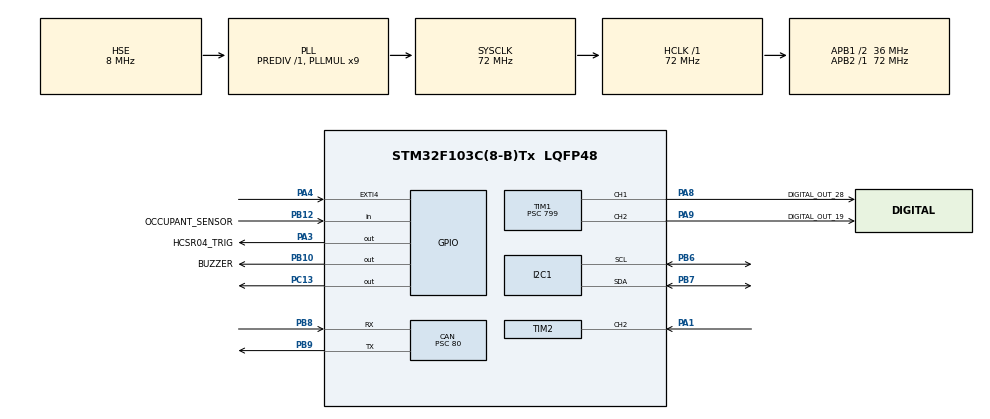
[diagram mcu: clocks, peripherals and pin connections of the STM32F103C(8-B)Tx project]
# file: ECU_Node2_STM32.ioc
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CAN.ABOM=DISABLE
CAN.BS1=CAN_BS1_5TQ
CAN.BS2=CAN_BS2_3TQ
CAN.CalculateBaudRate=50000
CAN.CalculateTimeBit=20000
CAN.CalculateTimeQuantum=2222.222222222222
CAN.Mode=CAN_MODE_NORMAL
CAN.NART=ENABLE
CAN.Prescaler=80
FREERTOS.Tasks01=CANRxHandlerTask,24,128,CANRxHandler,Default,NULL,Dynamic,NULL,NULL;CANTxHandlerTask,24,128,CANTxHandler,Default,NULL,Dynamic,NULL,NULL
FREERTOS.configMAX_TASK_NAME_LEN=32
FREERTOS.configTOTAL_HEAP_SIZE=10000
FREERTOS.configUSE_MALLOC_FAILED_HOOK=1
Mcu.Family=STM32F1
Mcu.Name=STM32F103C(8-B)Tx
Mcu.Package=LQFP48
NVIC.EXTI4_IRQn=true\:5\:0\:false\:false\:true\:true\:true\:true\:true
NVIC.PriorityGroup=NVIC_PRIORITYGROUP_4
NVIC.TIM2_IRQn=true\:5\:0\:false\:false\:true\:true\:true\:true\:true
NVIC.TIM4_IRQn=true\:15\:0\:false\:false\:true\:false\:false\:true\:true
NVIC.TimeBase=TIM4_IRQn
NVIC.TimeBaseIP=TIM4
NVIC.USB_LP_CAN1_RX0_IRQn=true\:5\:0\:false\:false\:true\:true\:true\:true\:true
PA1.Signal=S_TIM2_CH2
PA13.Mode=Serial_Wire
PA13.Signal=SYS_JTMS-SWDIO
PA14.Mode=Serial_Wire
PA14.Signal=SYS_JTCK-SWCLK
PA3.GPIO_Label=HCSR04_TRIG
PA3.Signal=GPIO_Output
PA4.GPIO_PuPd=GPIO_NOPULL
PA4.Signal=GPXTI4
PA8.GPIO_Label=DIGITAL_OUT_28
PA8.Signal=S_TIM1_CH1
PA9.GPIO_Label=DIGITAL_OUT_19
PA9.Signal=S_TIM1_CH2
PB10.GPIO_Label=BUZZER
PB10.Signal=GPIO_Output
PB12.GPIO_Label=OCCUPANT_SENSOR
PB12.GPIO_PuPd=GPIO_PULLUP
PB12.Signal=GPIO_Input
PB6.Mode=I2C
PB6.Signal=I2C1_SCL
PB7.Mode=I2C
PB7.Signal=I2C1_SDA
PB8.GPIO_PuPd=GPIO_PULLUP
PB8.Mode=CAN_Activate
PB8.Signal=CAN_RX
PB9.Mode=CAN_Activate
PB9.Signal=CAN_TX
PC13-TAMPER-RTC.Signal=GPIO_Output
PD0-OSC_IN.Mode=HSE-External-Oscillator
PD0-OSC_IN.Signal=RCC_OSC_IN
PD1-OSC_OUT.Mode=HSE-External-Oscillator
PD1-OSC_OUT.Signal=RCC_OSC_OUT
ProjectManager.HeapSize=0x200
ProjectManager.StackSize=0x400
ProjectManager.TargetToolchain=STM32CubeIDE
RCC.ADCPresc=RCC_ADCPCLK2_DIV6
RCC.AHBFreq_Value=72000000
RCC.APB1CLKDivider=RCC_HCLK_DIV2
RCC.APB1Freq_Value=36000000
RCC.APB1TimFreq_Value=72000000
RCC.APB2Freq_Value=72000000
RCC.APB2TimFreq_Value=72000000
RCC.HCLKFreq_Value=72000000
RCC.PLLMUL=RCC_PLL_MUL9
RCC.PLLSourceVirtual=RCC_PLLSOURCE_HSE
RCC.SYSCLKFreq_VALUE=72000000
RCC.SYSCLKSource=RCC_SYSCLKSOURCE_PLLCLK
RCC.USBFreq_Value=72000000
SH.S_TIM1_CH1.0=TIM1_CH1,PWM Generation1 CH1
SH.S_TIM1_CH2.0=TIM1_CH2,PWM Generation2 CH2
SH.S_TIM2_CH2.0=TIM2_CH2,Input_Capture2_from_TI2
TIM1.Channel-PWM\ Generation1\ CH1=TIM_CHANNEL_1
TIM1.Channel-PWM\ Generation2\ CH2=TIM_CHANNEL_2
TIM1.Period=999
TIM1.Prescaler=799
TIM2.Channel-Input_Capture2_from_TI2=TIM_CHANNEL_2
TIM2.Prescaler=71
TIM3.Period=999
TIM3.Prescaler=799
VP_FREERTOS_VS_CMSIS_V2.Mode=CMSIS_V2
VP_SYS_VS_tim4.Mode=TIM4
VP_TIM1_VS_ClockSourceINT.Mode=Internal
VP_TIM2_VS_ClockSourceINT.Mode=Internal
VP_TIM3_VS_ClockSourceINT.Mode=Internal
board=custom

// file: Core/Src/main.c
/* USER CODE BEGIN Header */
/**
  ******************************************************************************
  * @file           : main.c
  * @brief          : Main program body
  ******************************************************************************
  * @attention
  *
  * <h2><center>&copy; Copyright (c) 2025 STMicroelectronics.
  * All rights reserved.</center></h2>
  *
  * This software component is licensed by ST under BSD 3-Clause license,
  * the "License"; You may not use this file except in compliance with the
  * License. You may obtain a copy of the License at:
  *                        opensource.org/licenses/BSD-3-Clause
  *
  ******************************************************************************
  */
/* USER CODE END Header */
#include "main.h"
#include "cmsis_os.h"

/* USER CODE BEGIN Includes */
#include "can.h"
#include "hcsr04.h"
#include "buzzer.h"
#include "ds1307.h"
#include <stdbool.h>
#include <string.h>
/* USER CODE END Includes */

CAN_HandleTypeDef hcan;

I2C_HandleTypeDef hi2c1;

TIM_HandleTypeDef htim1;
TIM_HandleTypeDef htim2;
TIM_HandleTypeDef htim3;

/* Definitions for CANRxHandlerTask */
osThreadId_t CANRxHandlerTaskHandle;
const osThreadAttr_t CANRxHandlerTask_attributes = {
  .name = "CANRxHandlerTask",
  .stack_size = 128 * 4,
  .priority = (osPriority_t) osPriorityNormal,
};
/* Definitions for CANTxHandlerTask */
osThreadId_t CANTxHandlerTaskHandle;
const osThreadAttr_t CANTxHandlerTask_attributes = {
  .name = "CANTxHandlerTask",
  .stack_size = 128 * 4,
  .priority = (osPriority_t) osPriorityNormal,
};
/* USER CODE BEGIN PV */

CAN_Frame canTxQueue[CAN_TX_QUEUE_SIZE];

volatile DigitalOutput_Resp_Frame digital_output_data[NUMBER_OF_DIG_OUT_RES_FRAME] = {0};
volatile DigitalInput_Resp_Frame digital_input_data[NUMBER_OF_DIG_IN_RES_FRAME] = {0};
volatile DigitalOutput_Cmd_Frame digital_output_cmd_data[NUMBER_OF_DIG_OUT_CMD_FRAME] = {0};
volatile AnalogInput_Resp_Frame analog_input_data[NUMBER_OF_ANALOG_IN_RES_FRAME] = {0};

CAN_RxFrame can_rx_frame;

#define ADXL345_ADDR    (0x53 << 1)
volatile bool g_crash_interrupt_fired = false;

/* USER CODE END PV */

void SystemClock_Config(void);
static void MX_GPIO_Init(void);
static void MX_CAN_Init(void);
static void MX_TIM1_Init(void);
static void MX_TIM3_Init(void);
static void MX_TIM2_Init(void);
static void MX_I2C1_Init(void);
void CANRxHandler(void *argument);
void CANTxHandler(void *argument);

/* USER CODE BEGIN PFP */
/**
  * @brief  Process Digital Output Commands
  * @param  cmd_data: Pointer to the Digital Output Command Frame
  *                                   containing the commands to process
  * @retval None
  */
void digital_output_process(volatile DigitalOutput_Cmd_Frame *cmd_data);

/* USER CODE END PFP */

/* USER CODE BEGIN 0 */
void HAL_CAN_RxFifo0MsgPendingCallback(CAN_HandleTypeDef *hcan) {
  HAL_CAN_GetRxMessage(hcan, CAN_RX_FIFO0, &can_rx_frame.header, can_rx_frame.data);
  // Process received CAN message
}
void HAL_TIM_IC_CaptureCallback(TIM_HandleTypeDef *htim)
{
    HCSR04_IC_CaptureCallback(htim);
}

void ADXL345_Init(void) {
    uint8_t data[2];

    // 1. Full Resolution, Range ±16g
    data[0] = 0x31; data[1] = 0x0B;
    HAL_I2C_Master_Transmit(&hi2c1, ADXL345_ADDR, data, 2, 100);

    // 2. Ngưỡng va chạm (Thresh Tap): Ví dụ chọn giá trị 48 (~3g)
    data[0] = 0x1D; data[1] = 0x30;
    HAL_I2C_Master_Transmit(&hi2c1, ADXL345_ADDR, data, 2, 100);

    // 3. Thời gian va chạm tối đa (Duration)
    data[0] = 0x21; data[1] = 0x18;
    HAL_I2C_Master_Transmit(&hi2c1, ADXL345_ADDR, data, 2, 100);

    // 4. Kích hoạt trục X, Y để bắt va chạm
    data[0] = 0x2A; data[1] = 0x06;
    HAL_I2C_Master_Transmit(&hi2c1, ADXL345_ADDR, data, 2, 100);

    // 5. Map ngắt Single Tap ra INT1
    data[0] = 0x2F; data[1] = 0x00;
    HAL_I2C_Master_Transmit(&hi2c1, ADXL345_ADDR, data, 2, 100);

    // 6. Bật ngắt Single Tap
    data[0] = 0x2E; data[1] = 0x40;
    HAL_I2C_Master_Transmit(&hi2c1, ADXL345_ADDR, data, 2, 100);

    // 7. Chuyển sang chế độ đo (Measurement Mode)
    data[0] = 0x2D; data[1] = 0x08;
    HAL_I2C_Master_Transmit(&hi2c1, ADXL345_ADDR, data, 2, 100);
}

/* --- THÊM HÀM NGẮT (EXTI CALLBACK) TẠI ĐÂY --- */
void HAL_GPIO_EXTI_Callback(uint16_t GPIO_Pin) {
    if (GPIO_Pin == GPIO_PIN_4) {
        // Chỉ bật cờ báo hiệu, tuyệt đối không gọi HAL_I2C ở đây
        g_crash_interrupt_fired = true;
    }
}
/* USER CODE END 0 */

int main(void)
{

  /* MCU Configuration--------------------------------------------------------*/

  /* Reset of all peripherals, Initializes the Flash interface and the Systick. */
  HAL_Init();

  /* Configure the system clock */
  SystemClock_Config();

  /* Initialize all configured peripherals */
  MX_GPIO_Init();
  MX_CAN_Init();
  MX_TIM1_Init();
  MX_TIM3_Init();
  MX_TIM2_Init();
  MX_I2C1_Init();
  /* USER CODE BEGIN 2 */
  HAL_TIM_PWM_Start(&htim1, TIM_CHANNEL_1);
  HAL_TIM_PWM_Start(&htim1, TIM_CHANNEL_2);
  HAL_TIM_PWM_Start(&htim1, TIM_CHANNEL_3);
  HAL_TIM_PWM_Start(&htim3, TIM_CHANNEL_1);
  HAL_TIM_PWM_Start(&htim3, TIM_CHANNEL_2);
  HAL_TIM_PWM_Start(&htim3, TIM_CHANNEL_3);
  HAL_TIM_PWM_Start(&htim3, TIM_CHANNEL_4);

  HAL_CAN_Start(&hcan);
  HAL_CAN_ActivateNotification(&hcan, CAN_IT_RX_FIFO0_MSG_PENDING);
  Buzzer_Init();
  DS1307_Init();
  ADXL345_Init();
#if 0
  {
      DS1307_Time t0 = {
          .seconds = 0,
          .minutes = 05,
          .hours   = 16,
          .dow     = 1,     /* 1=CN ... 7=T7 (tùy bạn quy ước) */
          .date    = 31,
          .month   = 5,
          .year    = 26     /* 2026 → 26 */
      };
      DS1307_SetTime(&t0);
  }
#endif

  /* USER CODE END 2 */

  /* Init scheduler */
  osKernelInitialize();

  /* Create the thread(s) */
  /* creation of CANRxHandlerTask */
  CANRxHandlerTaskHandle = osThreadNew(CANRxHandler, NULL, &CANRxHandlerTask_attributes);

  /* creation of CANTxHandlerTask */
  CANTxHandlerTaskHandle = osThreadNew(CANTxHandler, NULL, &CANTxHandlerTask_attributes);

  /* Start scheduler */
  osKernelStart();

  /* We should never get here as control is now taken by the scheduler */

  /* Infinite loop */
  while (1)
  {

  }
}

void SystemClock_Config(void)
{
  RCC_OscInitTypeDef RCC_OscInitStruct = {0};
  RCC_ClkInitTypeDef RCC_ClkInitStruct = {0};

  /** Initializes the RCC Oscillators according to the specified parameters
  * in the RCC_OscInitTypeDef structure.
  */
  RCC_OscInitStruct.OscillatorType = RCC_OSCILLATORTYPE_HSE;
  RCC_OscInitStruct.HSEState = RCC_HSE_ON;
  RCC_OscInitStruct.HSEPredivValue = RCC_HSE_PREDIV_DIV1;
  RCC_OscInitStruct.HSIState = RCC_HSI_ON;
  RCC_OscInitStruct.PLL.PLLState = RCC_PLL_ON;
  RCC_OscInitStruct.PLL.PLLSource = RCC_PLLSOURCE_HSE;
  RCC_OscInitStruct.PLL.PLLMUL = RCC_PLL_MUL9;
  if (HAL_RCC_OscConfig(&RCC_OscInitStruct) != HAL_OK)
  {
    Error_Handler();
  }

  /** Initializes the CPU, AHB and APB buses clocks
  */
  RCC_ClkInitStruct.ClockType = RCC_CLOCKTYPE_HCLK|RCC_CLOCKTYPE_SYSCLK
                              |RCC_CLOCKTYPE_PCLK1|RCC_CLOCKTYPE_PCLK2;
  RCC_ClkInitStruct.SYSCLKSource = RCC_SYSCLKSOURCE_PLLCLK;
  RCC_ClkInitStruct.AHBCLKDivider = RCC_SYSCLK_DIV1;
  RCC_ClkInitStruct.APB1CLKDivider = RCC_HCLK_DIV2;
  RCC_ClkInitStruct.APB2CLKDivider = RCC_HCLK_DIV1;

  if (HAL_RCC_ClockConfig(&RCC_ClkInitStruct, FLASH_LATENCY_2) != HAL_OK)
  {
    Error_Handler();
  }
}

static void MX_CAN_Init(void)
{

  hcan.Instance = CAN1;
  hcan.Init.Prescaler = 80;
  hcan.Init.Mode = CAN_MODE_NORMAL;
  hcan.Init.SyncJumpWidth = CAN_SJW_1TQ;
  hcan.Init.TimeSeg1 = CAN_BS1_5TQ;
  hcan.Init.TimeSeg2 = CAN_BS2_3TQ;
  hcan.Init.TimeTriggeredMode = DISABLE;
  hcan.Init.AutoBusOff = DISABLE;
  hcan.Init.AutoWakeUp = DISABLE;
  hcan.Init.AutoRetransmission = ENABLE;
  hcan.Init.ReceiveFifoLocked = DISABLE;
  hcan.Init.TransmitFifoPriority = DISABLE;
  if (HAL_CAN_Init(&hcan) != HAL_OK)
  {
    Error_Handler();
  }
  /* USER CODE BEGIN CAN_Init 2 */
  CAN_FilterTypeDef canfilterconfig;

  canfilterconfig.FilterActivation = CAN_FILTER_ENABLE;
  canfilterconfig.FilterBank = 10;  // anything between 0 to SlaveStartFilterBank
  canfilterconfig.FilterFIFOAssignment = CAN_FILTER_FIFO0;
  canfilterconfig.FilterIdHigh = 0;
  canfilterconfig.FilterIdLow = 0x0000;
  canfilterconfig.FilterMaskIdHigh = 0;
  canfilterconfig.FilterMaskIdLow = 0x0000;
  canfilterconfig.FilterMode = CAN_FILTERMODE_IDMASK;
  canfilterconfig.FilterScale = CAN_FILTERSCALE_32BIT;
  canfilterconfig.SlaveStartFilterBank = 13;  // 13 to 27 are assigned to slave CAN (CAN 2) OR 0 to 12 are assgned to CAN1

  HAL_CAN_ConfigFilter(&hcan, &canfilterconfig);
  /* USER CODE END CAN_Init 2 */

}

static void MX_I2C1_Init(void)
{

  hi2c1.Instance = I2C1;
  hi2c1.Init.ClockSpeed = 100000;
  hi2c1.Init.DutyCycle = I2C_DUTYCYCLE_2;
  hi2c1.Init.OwnAddress1 = 0;
  hi2c1.Init.AddressingMode = I2C_ADDRESSINGMODE_7BIT;
  hi2c1.Init.DualAddressMode = I2C_DUALADDRESS_DISABLE;
  hi2c1.Init.OwnAddress2 = 0;
  hi2c1.Init.GeneralCallMode = I2C_GENERALCALL_DISABLE;
  hi2c1.Init.NoStretchMode = I2C_NOSTRETCH_DISABLE;
  if (HAL_I2C_Init(&hi2c1) != HAL_OK)
  {
    Error_Handler();
  }

}

static void MX_TIM1_Init(void)
{

  TIM_ClockConfigTypeDef sClockSourceConfig = {0};
  TIM_MasterConfigTypeDef sMasterConfig = {0};
  TIM_OC_InitTypeDef sConfigOC = {0};
  TIM_BreakDeadTimeConfigTypeDef sBreakDeadTimeConfig = {0};

  htim1.Instance = TIM1;
  htim1.Init.Prescaler = 799;
  htim1.Init.CounterMode = TIM_COUNTERMODE_UP;
  htim1.Init.Period = 999;
  htim1.Init.ClockDivision = TIM_CLOCKDIVISION_DIV1;
  htim1.Init.RepetitionCounter = 0;
  htim1.Init.AutoReloadPreload = TIM_AUTORELOAD_PRELOAD_DISABLE;
  if (HAL_TIM_Base_Init(&htim1) != HAL_OK)
  {
    Error_Handler();
  }
  sClockSourceConfig.ClockSource = TIM_CLOCKSOURCE_INTERNAL;
  if (HAL_TIM_ConfigClockSource(&htim1, &sClockSourceConfig) != HAL_OK)
  {
    Error_Handler();
  }
  if (HAL_TIM_PWM_Init(&htim1) != HAL_OK)
  {
    Error_Handler();
  }
  sMasterConfig.MasterOutputTrigger = TIM_TRGO_RESET;
  sMasterConfig.MasterSlaveMode = TIM_MASTERSLAVEMODE_DISABLE;
  if (HAL_TIMEx_MasterConfigSynchronization(&htim1, &sMasterConfig) != HAL_OK)
  {
    Error_Handler();
  }
  sConfigOC.OCMode = TIM_OCMODE_PWM1;
  sConfigOC.Pulse = 0;
  sConfigOC.OCPolarity = TIM_OCPOLARITY_HIGH;
  sConfigOC.OCNPolarity = TIM_OCNPOLARITY_HIGH;
  sConfigOC.OCFastMode = TIM_OCFAST_DISABLE;
  sConfigOC.OCIdleState = TIM_OCIDLESTATE_RESET;
  sConfigOC.OCNIdleState = TIM_OCNIDLESTATE_RESET;
  if (HAL_TIM_PWM_ConfigChannel(&htim1, &sConfigOC, TIM_CHANNEL_1) != HAL_OK)
  {
    Error_Handler();
  }
  if (HAL_TIM_PWM_ConfigChannel(&htim1, &sConfigOC, TIM_CHANNEL_2) != HAL_OK)
  {
    Error_Handler();
  }
  sBreakDeadTimeConfig.OffStateRunMode = TIM_OSSR_DISABLE;
  sBreakDeadTimeConfig.OffStateIDLEMode = TIM_OSSI_DISABLE;
  sBreakDeadTimeConfig.LockLevel = TIM_LOCKLEVEL_OFF;
  sBreakDeadTimeConfig.DeadTime = 0;
  sBreakDeadTimeConfig.BreakState = TIM_BREAK_DISABLE;
  sBreakDeadTimeConfig.BreakPolarity = TIM_BREAKPOLARITY_HIGH;
  sBreakDeadTimeConfig.AutomaticOutput = TIM_AUTOMATICOUTPUT_DISABLE;
  if (HAL_TIMEx_ConfigBreakDeadTime(&htim1, &sBreakDeadTimeConfig) != HAL_OK)
  {
    Error_Handler();
  }
  HAL_TIM_MspPostInit(&htim1);

}

static void MX_TIM2_Init(void)
{

  TIM_ClockConfigTypeDef sClockSourceConfig = {0};
  TIM_MasterConfigTypeDef sMasterConfig = {0};
  TIM_IC_InitTypeDef sConfigIC = {0};

  htim2.Instance = TIM2;
  htim2.Init.Prescaler = 71;
  htim2.Init.CounterMode = TIM_COUNTERMODE_UP;
  htim2.Init.Period = 65535;
  htim2.Init.ClockDivision = TIM_CLOCKDIVISION_DIV1;
  htim2.Init.AutoReloadPreload = TIM_AUTORELOAD_PRELOAD_DISABLE;
  if (HAL_TIM_Base_Init(&htim2) != HAL_OK)
  {
    Error_Handler();
  }
  sClockSourceConfig.ClockSource = TIM_CLOCKSOURCE_INTERNAL;
  if (HAL_TIM_ConfigClockSource(&htim2, &sClockSourceConfig) != HAL_OK)
  {
    Error_Handler();
  }
  if (HAL_TIM_IC_Init(&htim2) != HAL_OK)
  {
    Error_Handler();
  }
  sMasterConfig.MasterOutputTrigger = TIM_TRGO_RESET;
  sMasterConfig.MasterSlaveMode = TIM_MASTERSLAVEMODE_DISABLE;
  if (HAL_TIMEx_MasterConfigSynchronization(&htim2, &sMasterConfig) != HAL_OK)
  {
    Error_Handler();
  }
  sConfigIC.ICPolarity = TIM_INPUTCHANNELPOLARITY_RISING;
  sConfigIC.ICSelection = TIM_ICSELECTION_DIRECTTI;
  sConfigIC.ICPrescaler = TIM_ICPSC_DIV1;
  sConfigIC.ICFilter = 0;
  if (HAL_TIM_IC_ConfigChannel(&htim2, &sConfigIC, TIM_CHANNEL_2) != HAL_OK)
  {
    Error_Handler();
  }

}

static void MX_TIM3_Init(void)
{

  TIM_ClockConfigTypeDef sClockSourceConfig = {0};
  TIM_MasterConfigTypeDef sMasterConfig = {0};

  htim3.Instance = TIM3;
  htim3.Init.Prescaler = 799;
  htim3.Init.CounterMode = TIM_COUNTERMODE_UP;
  htim3.Init.Period = 999;
  htim3.Init.ClockDivision = TIM_CLOCKDIVISION_DIV1;
  htim3.Init.AutoReloadPreload = TIM_AUTORELOAD_PRELOAD_DISABLE;
  if (HAL_TIM_Base_Init(&htim3) != HAL_OK)
  {
    Error_Handler();
  }
  sClockSourceConfig.ClockSource = TIM_CLOCKSOURCE_INTERNAL;
  if (HAL_TIM_ConfigClockSource(&htim3, &sClockSourceConfig) != HAL_OK)
  {
    Error_Handler();
  }
  sMasterConfig.MasterOutputTrigger = TIM_TRGO_RESET;
  sMasterConfig.MasterSlaveMode = TIM_MASTERSLAVEMODE_DISABLE;
  if (HAL_TIMEx_MasterConfigSynchronization(&htim3, &sMasterConfig) != HAL_OK)
  {
    Error_Handler();
  }

}

static void MX_GPIO_Init(void)
{
  GPIO_InitTypeDef GPIO_InitStruct = {0};

  /* GPIO Ports Clock Enable */
  __HAL_RCC_GPIOC_CLK_ENABLE();
  __HAL_RCC_GPIOD_CLK_ENABLE();
  __HAL_RCC_GPIOA_CLK_ENABLE();
  __HAL_RCC_GPIOB_CLK_ENABLE();

  /*Configure GPIO pin Output Level */
  HAL_GPIO_WritePin(GPIOC, GPIO_PIN_13, GPIO_PIN_RESET);

  /*Configure GPIO pin Output Level */
  HAL_GPIO_WritePin(HCSR04_TRIG_GPIO_Port, HCSR04_TRIG_Pin, GPIO_PIN_RESET);

  /*Configure GPIO pin Output Level */
  HAL_GPIO_WritePin(BUZZER_GPIO_Port, BUZZER_Pin, GPIO_PIN_RESET);

  /*Configure GPIO pin : PC13 */
  GPIO_InitStruct.Pin = GPIO_PIN_13;
  GPIO_InitStruct.Mode = GPIO_MODE_OUTPUT_PP;
  GPIO_InitStruct.Pull = GPIO_NOPULL;
  GPIO_InitStruct.Speed = GPIO_SPEED_FREQ_LOW;
  HAL_GPIO_Init(GPIOC, &GPIO_InitStruct);

  /*Configure GPIO pin : HCSR04_TRIG_Pin */
  GPIO_InitStruct.Pin = HCSR04_TRIG_Pin;
  GPIO_InitStruct.Mode = GPIO_MODE_OUTPUT_PP;
  GPIO_InitStruct.Pull = GPIO_NOPULL;
  GPIO_InitStruct.Speed = GPIO_SPEED_FREQ_LOW;
  HAL_GPIO_Init(HCSR04_TRIG_GPIO_Port, &GPIO_InitStruct);

  /*Configure GPIO pin : PA4 */
  GPIO_InitStruct.Pin = GPIO_PIN_4;
  GPIO_InitStruct.Mode = GPIO_MODE_IT_RISING;
  GPIO_InitStruct.Pull = GPIO_NOPULL;
  HAL_GPIO_Init(GPIOA, &GPIO_InitStruct);

  /*Configure GPIO pin : BUZZER_Pin */
  GPIO_InitStruct.Pin = BUZZER_Pin;
  GPIO_InitStruct.Mode = GPIO_MODE_OUTPUT_PP;
  GPIO_InitStruct.Pull = GPIO_NOPULL;
  GPIO_InitStruct.Speed = GPIO_SPEED_FREQ_LOW;
  HAL_GPIO_Init(BUZZER_GPIO_Port, &GPIO_InitStruct);

  /*Configure GPIO pin : OCCUPANT_SENSOR_Pin */
  GPIO_InitStruct.Pin = OCCUPANT_SENSOR_Pin;
  GPIO_InitStruct.Mode = GPIO_MODE_INPUT;
  GPIO_InitStruct.Pull = GPIO_PULLUP;
  HAL_GPIO_Init(OCCUPANT_SENSOR_GPIO_Port, &GPIO_InitStruct);

  /* EXTI interrupt init*/
  HAL_NVIC_SetPriority(EXTI4_IRQn, 5, 0);
  HAL_NVIC_EnableIRQ(EXTI4_IRQn);

}

/* USER CODE BEGIN 4 */
/**
  * @brief  Process Digital Output Commands
  * @param  cmd_data: Pointer to the Digital Output Command Frame
  *                                   containing the commands to process
  * @retval None
  */

/* USER CODE END 4 */

void CANRxHandler(void *argument)
{
  /* USER CODE BEGIN 5 */

  /* Infinite loop */
  for(;;)
  {

    osDelay(10);
  }
  /* USER CODE END 5 */
}

void CANTxHandler(void *argument)
{
  /* USER CODE BEGIN CANTxHandler */
  CAN_Frame tx_frame;
  static uint32_t frame_send_counter = 0;
  HCSR04_Init();
  static uint8_t rtc_div = 0;
  /* Infinite loop */
  for(;;)
  {
	  frame_send_counter++;
	      if (frame_send_counter % 3 == 0) {
	          HCSR04_TriggerMeasure();
	      }
	      uint16_t dist_cm = HCSR04_GetDistance();
	      HAL_GPIO_WritePin(GPIOC, GPIO_PIN_13,
	          (dist_cm > BUZZER_WARN_CM) ? GPIO_PIN_RESET : GPIO_PIN_SET);

	      Buzzer_Update(dist_cm);

	      /* ECU2 CHỈ sở hữu frame analog số 2 */
	      analog_input_data[2].signal[0].analogValue = dist_cm;
	      analog_input_data[2].signal[0].elDiagnosis = 0;

	      tx_frame.id = ANALOG_INPUT_RES_ID(2);
	      memcpy(tx_frame.data, (uint8_t*)&analog_input_data[2].sdu,
	             sizeof(analog_input_data[2].sdu));
	      CAN_EnqueueTxFrame(&tx_frame, canTxQueue);

	      if (g_crash_interrupt_fired) {
	                g_crash_interrupt_fired = false; // Xóa cờ phần mềm

	                // Đọc trạng thái ghế từ module chạm OE-TP
	                GPIO_PinState occupant = HAL_GPIO_ReadPin(OCCUPANT_SENSOR_GPIO_Port, OCCUPANT_SENSOR_Pin);
	                if (occupant == GPIO_PIN_RESET) {
	                    // CÓ NGƯỜI NGỒI -> BUNG TÚI KHÍ (Gửi lệnh CAN khẩn)
	                	digital_input_data[0].signal[7].inputStatus = 1;
	                	digital_input_data[0].signal[7].elDiagnosis = 0;

	                    tx_frame.id = DIGITAL_INPUT_RES_ID(0); // Dùng frame Digital Input 0 làm cảnh báo
	                    memcpy(tx_frame.data, (uint8_t*)&digital_input_data[0].sdu, sizeof(digital_input_data[0].sdu));
	                    CAN_EnqueueTxFrame(&tx_frame, canTxQueue);

	                    // Có thể bật còi báo động khẩn cấp ở đây
	                }
	       uint8_t reg = 0x30;
	       uint8_t dummy_read;
	       HAL_I2C_Master_Transmit(&hi2c1, ADXL345_ADDR, &reg, 1, 100);
	       HAL_I2C_Master_Receive(&hi2c1, ADXL345_ADDR, &dummy_read, 1, 100);
	       }

	      if (++rtc_div >= 10U) {
	              rtc_div = 0;
	              DS1307_Time now;
	              if (DS1307_GetTime(&now)) {
	                  CAN_EnqueueRtcTime(&now, canTxQueue);
	              } else {
	                  CAN_EnqueueRtcTime(NULL, canTxQueue);  /* báo invalid */
	              }
	          }
	      CAN_send(&hcan, canTxQueue);

      osDelay(100);
  }
  /* USER CODE END CANTxHandler */
}

void HAL_TIM_PeriodElapsedCallback(TIM_HandleTypeDef *htim)
{
  if (htim->Instance == TIM4) {
    HAL_IncTick();
  }
}

void Error_Handler(void)
{
  __disable_irq();
  while (1)
  {
  }
}
